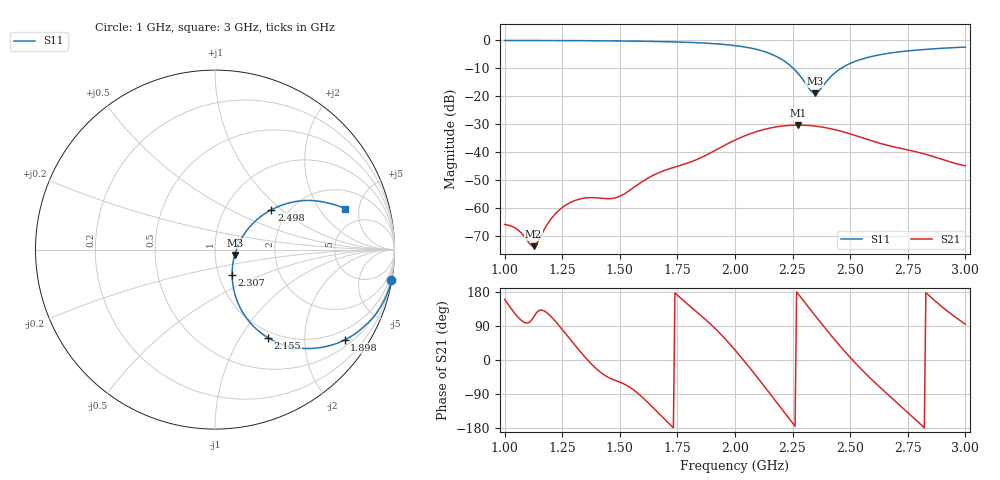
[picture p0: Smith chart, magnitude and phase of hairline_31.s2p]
! TOUCHSTONE file generated by CST MICROWAVE STUDIO
! Date and time: Tue Mar 18 20:31:49 2025
! Project name: hairline.cst
! Parameters = {B=12.5; D=160; F=25; Feed=2.85625; Fracture=0.5; L=100; M=30; R=0.384908; S=1.5; Theta=180; length=57.125; wave=114.25}
! Header version: 2024
! Port assignment regex: !\s*Touchstone port\s*([0-9]+)\s*=\s*(CST MWS port|CST DES external port|CST DES block port)\s*(.+)\s* \(\"(.*)\"\)(\s*mode\s*([0-9]+))?.*
! Touchstone port assignment:
! Touchstone port 1 = CST MWS port 1 ("")
! Touchstone port 2 = CST MWS port 2 ("")
# GHz S DB R 50
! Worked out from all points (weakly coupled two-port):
!   304 points, 1 GHz to 3 GHz, reference 50 ohm
!   highest |S21| = -30.31 dB at 2.274 GHz (marker M1); lowest = -73.6 dB at 1.125 GHz (marker M2)
!   lowest |S11| = -18.9 dB at 2.347 GHz (marker M3), VSWR 1.26, Z = 62.2 - j3.78 ohm
!   |S11| at or under -10 dB: 2.253 GHz to 2.46 GHz (207.1 MHz wide, 8.79 % of centre)
!   S12 and S22 are empty: the file has one direction only
!   S11 on the Smith chart (normalised r, x): 1 GHz: 0, -12; 1.898 GHz: 0.68, -3.05; 2.155 GHz: 0.91, -1.33; 2.307 GHz: 1.16, -0.33; 2.498 GHz: 1.64, +0.86; 3 GHz: 3.32, +3.57
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1  -0.02 -9.7  -65.86 160.3  -200.00 0.0  -200.00 0.0
1.05281  -0.03 -10.4  -67.50 116.8  -200.00 0.0  -200.00 0.0
1.12541  -0.03 -11.5  -73.62 112.9  -200.00 0.0  -200.00 0.0
1.13861  -0.04 -11.7  -72.72 124.9  -200.00 0.0  -200.00 0.0
1.19142  -0.05 -12.6  -65.02 120.7  -200.00 0.0  -200.00 0.0
1.23102  -0.06 -13.2  -61.16 94.6  -200.00 0.0  -200.00 0.0
1.28383  -0.08 -14.1  -58.06 55.1  -200.00 0.0  -200.00 0.0
1.33663  -0.10 -15.2  -56.56 16.3  -200.00 0.0  -200.00 0.0
1.48845  -0.19 -18.6  -56.16 -55.9  -200.00 0.0  -200.00 0.0
1.66667  -0.40 -23.9  -47.44 -139.4  -200.00 0.0  -200.00 0.0
1.89769  -1.10 -34.9  -40.08 92.5  -200.00 0.0  -200.00 0.0
2.0033  -1.90 -42.8  -35.55 24.1  -200.00 0.0  -200.00 0.0
2.15512  -4.82 -58.9  -31.31 -91.3  -200.00 0.0  -200.00 0.0
2.22112  -7.80 -65.6  -30.51 -143.6  -200.00 0.0  -200.00 0.0
2.27393  -11.83 -65.4  -30.31 174.6  -200.00 0.0  -200.00 0.0
2.30693  -15.47 -55.5  -30.38 148.7  -200.00 0.0  -200.00 0.0
2.33993  -18.74 -24.2  -30.59 123.1  -200.00 0.0  -200.00 0.0
2.34653  -18.88 -15.3  -30.65 118.0  -200.00 0.0  -200.00 0.0
2.43234  -11.70 34.8  -31.92 53.8  -200.00 0.0  -200.00 0.0
2.49835  -8.29 35.3  -33.42 7.8  -200.00 0.0  -200.00 0.0
2.66997  -4.56 27.6  -37.70 -94.5  -200.00 0.0  -200.00 0.0
3  -2.39 17.4  -44.87 94.1  -200.00 0.0  -200.00 0.0
